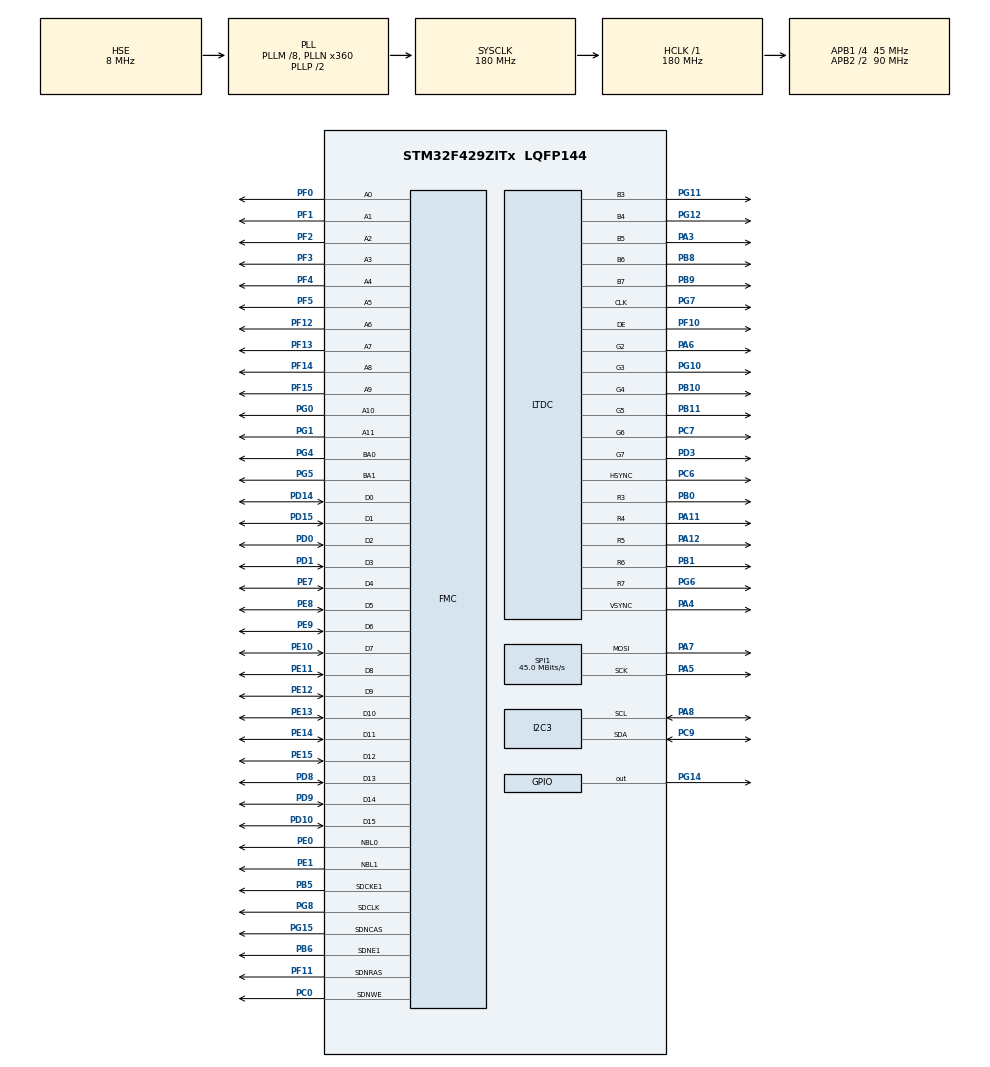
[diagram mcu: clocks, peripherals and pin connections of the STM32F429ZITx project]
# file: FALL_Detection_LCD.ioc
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FREERTOS.Tasks01=defaultTask,24,128,StartDefaultTask,Default,NULL,Dynamic,NULL,NULL
Mcu.Family=STM32F4
Mcu.Name=STM32F429ZITx
Mcu.Package=LQFP144
NVIC.PriorityGroup=NVIC_PRIORITYGROUP_4
PA11.Mode=RGB565
PA11.Signal=LTDC_R4
PA12.Mode=RGB565
PA12.Signal=LTDC_R5
PA3.Mode=RGB565
PA3.Signal=LTDC_B5
PA4.Mode=RGB565
PA4.Signal=LTDC_VSYNC
PA5.Mode=TX_Only_Simplex_Unidirect_Master
PA5.Signal=SPI1_SCK
PA6.Mode=RGB565
PA6.Signal=LTDC_G2
PA7.Mode=TX_Only_Simplex_Unidirect_Master
PA7.Signal=SPI1_MOSI
PA8.Mode=I2C
PA8.Signal=I2C3_SCL
PB0.Mode=RGB565
PB0.Signal=LTDC_R3
PB1.Mode=RGB565
PB1.Signal=LTDC_R6
PB10.Mode=RGB565
PB10.Signal=LTDC_G4
PB11.Mode=RGB565
PB11.Signal=LTDC_G5
PB5.Mode=SdramChipSelect2_1
PB5.Signal=FMC_SDCKE1
PB6.Mode=SdramChipSelect2_1
PB6.Signal=FMC_SDNE1
PB8.Mode=RGB565
PB8.Signal=LTDC_B6
PB9.Mode=RGB565
PB9.Signal=LTDC_B7
PC0.Signal=FMC_SDNWE
PC6.Mode=RGB565
PC6.Signal=LTDC_HSYNC
PC7.Mode=RGB565
PC7.Signal=LTDC_G6
PC9.Mode=I2C
PC9.Signal=I2C3_SDA
PD0.Signal=FMC_D2_DA2
PD1.Signal=FMC_D3_DA3
PD10.Signal=FMC_D15_DA15
PD14.Signal=FMC_D0_DA0
PD15.Signal=FMC_D1_DA1
PD3.Mode=RGB565
PD3.Signal=LTDC_G7
PD8.Signal=FMC_D13_DA13
PD9.Signal=FMC_D14_DA14
PE0.Signal=FMC_NBL0
PE1.Signal=FMC_NBL1
PE10.Signal=FMC_D7_DA7
PE11.Signal=FMC_D8_DA8
PE12.Signal=FMC_D9_DA9
PE13.Signal=FMC_D10_DA10
PE14.Signal=FMC_D11_DA11
PE15.Signal=FMC_D12_DA12
PE7.Signal=FMC_D4_DA4
PE8.Signal=FMC_D5_DA5
PE9.Signal=FMC_D6_DA6
PF0.Signal=FMC_A0
PF1.Signal=FMC_A1
PF10.Mode=RGB565
PF10.Signal=LTDC_DE
PF11.Signal=FMC_SDNRAS
PF12.Signal=FMC_A6
PF13.Signal=FMC_A7
PF14.Signal=FMC_A8
PF15.Signal=FMC_A9
PF2.Signal=FMC_A2
PF3.Signal=FMC_A3
PF4.Signal=FMC_A4
PF5.Signal=FMC_A5
PG0.Signal=FMC_A10
PG1.Signal=FMC_A11
PG10.Mode=RGB565
PG10.Signal=LTDC_G3
PG11.Mode=RGB565
PG11.Signal=LTDC_B3
PG12.Mode=RGB565
PG12.Signal=LTDC_B4
PG14.Signal=GPIO_Output
PG15.Signal=FMC_SDNCAS
PG4.Signal=FMC_A14_BA0
PG5.Signal=FMC_A15_BA1
PG6.Mode=RGB565
PG6.Signal=LTDC_R7
PG7.Mode=RGB565
PG7.Signal=LTDC_CLK
PG8.Signal=FMC_SDCLK
PH0/OSC_IN.Mode=HSE-External-Oscillator
PH0/OSC_IN.Signal=RCC_OSC_IN
PH1/OSC_OUT.Mode=HSE-External-Oscillator
PH1/OSC_OUT.Signal=RCC_OSC_OUT
ProjectManager.HeapSize=0x200
ProjectManager.StackSize=0x400
ProjectManager.TargetToolchain=STM32CubeIDE
RCC.48MHZClocksFreq_Value=51428571.428571425
RCC.AHBFreq_Value=180000000
RCC.APB1CLKDivider=RCC_HCLK_DIV4
RCC.APB1Freq_Value=45000000
RCC.APB1TimFreq_Value=90000000
RCC.APB2CLKDivider=RCC_HCLK_DIV2
RCC.APB2Freq_Value=90000000
RCC.APB2TimFreq_Value=180000000
RCC.CortexFreq_Value=180000000
RCC.HCLKFreq_Value=180000000
RCC.HSE_VALUE=8000000
RCC.HSI_VALUE=16000000
RCC.LSE_VALUE=32768
RCC.PLLM=8
RCC.PLLN=360
RCC.PLLQ=7
RCC.PLLSAIDivR=RCC_PLLSAIDIVR_8
RCC.PLLSAIN=192
RCC.PLLSAIR=4
RCC.PLLSourceVirtual=RCC_PLLSOURCE_HSE
RCC.SYSCLKFreq_VALUE=180000000
RCC.SYSCLKSource=RCC_SYSCLKSOURCE_PLLCLK
RCC.VCOOutputFreq_Value=360000000
SH.FMC_A0.0=FMC_A0,12b-sda1
SH.FMC_A1.0=FMC_A1,12b-sda1
SH.FMC_A10.0=FMC_A10,12b-sda1
SH.FMC_A11.0=FMC_A11,12b-sda1
SH.FMC_A14_BA0.0=FMC_BA0,FourSdramBanks1
SH.FMC_A15_BA1.0=FMC_BA1,FourSdramBanks1
SH.FMC_A2.0=FMC_A2,12b-sda1
SH.FMC_A3.0=FMC_A3,12b-sda1
SH.FMC_A4.0=FMC_A4,12b-sda1
SH.FMC_A5.0=FMC_A5,12b-sda1
SH.FMC_A6.0=FMC_A6,12b-sda1
SH.FMC_A7.0=FMC_A7,12b-sda1
SH.FMC_A8.0=FMC_A8,12b-sda1
SH.FMC_A9.0=FMC_A9,12b-sda1
SH.FMC_D0_DA0.0=FMC_D0,sd-16b-d1
SH.FMC_D10_DA10.0=FMC_D10,sd-16b-d1
SH.FMC_D11_DA11.0=FMC_D11,sd-16b-d1
SH.FMC_D12_DA12.0=FMC_D12,sd-16b-d1
SH.FMC_D13_DA13.0=FMC_D13,sd-16b-d1
SH.FMC_D14_DA14.0=FMC_D14,sd-16b-d1
SH.FMC_D15_DA15.0=FMC_D15,sd-16b-d1
SH.FMC_D1_DA1.0=FMC_D1,sd-16b-d1
SH.FMC_D2_DA2.0=FMC_D2,sd-16b-d1
SH.FMC_D3_DA3.0=FMC_D3,sd-16b-d1
SH.FMC_D4_DA4.0=FMC_D4,sd-16b-d1
SH.FMC_D5_DA5.0=FMC_D5,sd-16b-d1
SH.FMC_D6_DA6.0=FMC_D6,sd-16b-d1
SH.FMC_D7_DA7.0=FMC_D7,sd-16b-d1
SH.FMC_D8_DA8.0=FMC_D8,sd-16b-d1
SH.FMC_D9_DA9.0=FMC_D9,sd-16b-d1
SH.FMC_NBL0.0=FMC_NBL0,Sd2ByteEnable1
SH.FMC_NBL1.0=FMC_NBL1,Sd2ByteEnable1
SH.FMC_SDCLK.0=FMC_SDCLK,12b-sda1
SH.FMC_SDNCAS.0=FMC_SDNCAS,12b-sda1
SH.FMC_SDNRAS.0=FMC_SDNRAS,12b-sda1
SH.FMC_SDNWE.0=FMC_SDNWE,12b-sda1
SPI1.CalculateBaudRate=45.0 MBits/s
SPI1.Direction=SPI_DIRECTION_2LINES
SPI1.Mode=SPI_MODE_MASTER
SPI1.VirtualType=VM_MASTER
VP_DMA2D_VS_DMA2D.Mode=DMA2D_Activate
VP_FREERTOS_VS_CMSIS_V2.Mode=CMSIS_V2
board=STM32F429I-DISC1

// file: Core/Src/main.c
/* USER CODE BEGIN Header */
/**
 ******************************************************************************
 * @file           : main.c
 * @brief          : Main program body
 ******************************************************************************
 * @attention
 *
 * Copyright (c) 2025 STMicroelectronics.
 * All rights reserved.
 *
 * This software is licensed under terms that can be found in the LICENSE file
 * in the root directory of this software component.
 * If no LICENSE file comes with this software, it is provided AS-IS.
 *
 ******************************************************************************
 */
/* USER CODE END Header */
#include "main.h"
#include "cmsis_os.h"

/* USER CODE BEGIN Includes */
#include <stdio.h>
#include <string.h>
#include <math.h>

void MPU6050_Init(void);
void MPU6050_Read(void);
#define MPU6050_ADDR (0x68 << 1)
uint8_t data[14];
int16_t Ax, Ay, Az, Gx, Gy, Gz;
 char uart_buf[100];
/* USER CODE END Includes */

/* USER CODE BEGIN PM */
#define ACCEL_SCALE 16384.0  // Correct for MPU6050 +/- 2g range
#define THRESHOLD   2.5      // 2.5g (standard impact threshold)
#define TILT_ANGLE  40 // Original 60
/* USER CODE END PM */

DMA2D_HandleTypeDef hdma2d;

I2C_HandleTypeDef hi2c3;

LTDC_HandleTypeDef hltdc;

SPI_HandleTypeDef hspi1;

SDRAM_HandleTypeDef hsdram1;

/* Definitions for defaultTask */
osThreadId_t defaultTaskHandle;
const osThreadAttr_t defaultTask_attributes = {
  .name = "defaultTask",
  .stack_size = 128 * 4,
  .priority = (osPriority_t) osPriorityNormal,
};

void SystemClock_Config(void);
static void MX_GPIO_Init(void);
static void MX_DMA2D_Init(void);
static void MX_FMC_Init(void);
static void MX_LTDC_Init(void);
static void MX_I2C3_Init(void);
static void MX_SPI1_Init(void);
void StartDefaultTask(void *argument);

/* USER CODE BEGIN 0 */
TaskHandle_t watcher;
TaskHandle_t thinker;
TaskHandle_t shouter;
float aTotal;
float pitch;
float roll;

void* Watcher(void *arg);
void* Thinker(void *arg);
void* Shouter(void *arg);

void MPU6050_Init(void)
{
  uint8_t check;
  uint8_t data;

  // Check WHO_AM_I
  HAL_I2C_Mem_Read(&hi2c3, MPU6050_ADDR, 0x75, 1, &check, 1, HAL_MAX_DELAY);

  // Wake up MPU6050
  data = 0;
  HAL_I2C_Mem_Write(&hi2c3, MPU6050_ADDR, 0x6B, 1, &data, 1, HAL_MAX_DELAY);

  // Set accel ±2g
  data = 0x00;
  HAL_I2C_Mem_Write(&hi2c3, MPU6050_ADDR, 0x1C, 1, &data, 1, HAL_MAX_DELAY);

  // Set gyro ±250 dps
  data = 0x00;
  HAL_I2C_Mem_Write(&hi2c3, MPU6050_ADDR, 0x1B, 1, &data, 1, HAL_MAX_DELAY);
}
void MPU6050_Read(void)
{
  HAL_I2C_Mem_Read(&hi2c3, MPU6050_ADDR, 0x3B, 1, data, 14, HAL_MAX_DELAY);

  Ax = (int16_t)(data[0] << 8 | data[1]);
  Ay = (int16_t)(data[2] << 8 | data[3]);
  Az = (int16_t)(data[4] << 8 | data[5]);

  Gx = (int16_t)(data[8] << 8 | data[9]);
  Gy = (int16_t)(data[10] << 8 | data[11]);
  Gz = (int16_t)(data[12] << 8 | data[13]);
}
/* USER CODE END 0 */

int main(void)
{

  /* MCU Configuration--------------------------------------------------------*/

  /* Reset of all peripherals, Initializes the Flash interface and the Systick. */
  HAL_Init();

  /* Configure the system clock */
  SystemClock_Config();

  /* Initialize all configured peripherals */
  MX_GPIO_Init();
  MX_DMA2D_Init();
  MX_FMC_Init();
  MX_LTDC_Init();
  MX_I2C3_Init();
  MX_SPI1_Init();
  /* USER CODE BEGIN 2 */
	BSP_LCD_Init();
	MPU6050_Init();

	xTaskCreate(Watcher, "watcher", 256, NULL, 1, &watcher);
	xTaskCreate(Thinker, "thinker", 256, NULL, 1, &thinker);
	xTaskCreate(Shouter, "shouter", 256, NULL, 1, &shouter);

	/* Initialize the LCD Layers */
	BSP_LCD_LayerDefaultInit(1, LCD_FRAME_BUFFER);
	BSP_LCD_SelectLayer(1);

	BSP_LCD_SetFont(&LCD_DEFAULT_FONT);

	/* Clear the LCD */
	BSP_LCD_SetBackColor(LCD_COLOR_WHITE);
	BSP_LCD_Clear(LCD_COLOR_WHITE);

	/* Set the LCD Text Color */
	BSP_LCD_SetTextColor(LCD_COLOR_DARKBLUE);

	/* Display LCD messages */
//	BSP_LCD_DisplayStringAt(0, 10, (uint8_t*)"Emertxe", CENTER_MODE);
//	BSP_LCD_SetFont(&Font16);
	BSP_LCD_DisplayStringAt(0, 35, (uint8_t*)"FALL DETECTED?", CENTER_MODE);

	vTaskStartScheduler();

	/* Draw Bitmap */
//	      BSP_LCD_DrawBitmap((BSP_LCD_GetXSize() - emx_logo_width) / 2 ,(BSP_LCD_GetYSize() - emx_logo_height) / 2 , (uint8_t *)emx_logo);
  /* USER CODE END 2 */

  /* Init scheduler */
  osKernelInitialize();

  /* Create the thread(s) */
  /* creation of defaultTask */
  defaultTaskHandle = osThreadNew(StartDefaultTask, NULL, &defaultTask_attributes);

  /* Start scheduler */
  osKernelStart();

  /* We should never get here as control is now taken by the scheduler */

  /* Infinite loop */
	while (1)
	{

	}
}

void SystemClock_Config(void)
{
  RCC_OscInitTypeDef RCC_OscInitStruct = {0};
  RCC_ClkInitTypeDef RCC_ClkInitStruct = {0};

  /** Configure the main internal regulator output voltage
  */
  __HAL_RCC_PWR_CLK_ENABLE();
  __HAL_PWR_VOLTAGESCALING_CONFIG(PWR_REGULATOR_VOLTAGE_SCALE1);

  /** Initializes the RCC Oscillators according to the specified parameters
  * in the RCC_OscInitTypeDef structure.
  */
  RCC_OscInitStruct.OscillatorType = RCC_OSCILLATORTYPE_HSE;
  RCC_OscInitStruct.HSEState = RCC_HSE_ON;
  RCC_OscInitStruct.PLL.PLLState = RCC_PLL_ON;
  RCC_OscInitStruct.PLL.PLLSource = RCC_PLLSOURCE_HSE;
  RCC_OscInitStruct.PLL.PLLM = 8;
  RCC_OscInitStruct.PLL.PLLN = 360;
  RCC_OscInitStruct.PLL.PLLP = RCC_PLLP_DIV2;
  RCC_OscInitStruct.PLL.PLLQ = 7;
  if (HAL_RCC_OscConfig(&RCC_OscInitStruct) != HAL_OK)
  {
    Error_Handler();
  }

  /** Activate the Over-Drive mode
  */
  if (HAL_PWREx_EnableOverDrive() != HAL_OK)
  {
    Error_Handler();
  }

  /** Initializes the CPU, AHB and APB buses clocks
  */
  RCC_ClkInitStruct.ClockType = RCC_CLOCKTYPE_HCLK|RCC_CLOCKTYPE_SYSCLK
                              |RCC_CLOCKTYPE_PCLK1|RCC_CLOCKTYPE_PCLK2;
  RCC_ClkInitStruct.SYSCLKSource = RCC_SYSCLKSOURCE_PLLCLK;
  RCC_ClkInitStruct.AHBCLKDivider = RCC_SYSCLK_DIV1;
  RCC_ClkInitStruct.APB1CLKDivider = RCC_HCLK_DIV4;
  RCC_ClkInitStruct.APB2CLKDivider = RCC_HCLK_DIV2;

  if (HAL_RCC_ClockConfig(&RCC_ClkInitStruct, FLASH_LATENCY_5) != HAL_OK)
  {
    Error_Handler();
  }
}

static void MX_DMA2D_Init(void)
{

  hdma2d.Instance = DMA2D;
  hdma2d.Init.Mode = DMA2D_M2M;
  hdma2d.Init.ColorMode = DMA2D_OUTPUT_ARGB8888;
  hdma2d.Init.OutputOffset = 0;
  hdma2d.LayerCfg[1].InputOffset = 0;
  hdma2d.LayerCfg[1].InputColorMode = DMA2D_INPUT_ARGB8888;
  hdma2d.LayerCfg[1].AlphaMode = DMA2D_NO_MODIF_ALPHA;
  hdma2d.LayerCfg[1].InputAlpha = 0;
  if (HAL_DMA2D_Init(&hdma2d) != HAL_OK)
  {
    Error_Handler();
  }
  if (HAL_DMA2D_ConfigLayer(&hdma2d, 1) != HAL_OK)
  {
    Error_Handler();
  }

}

static void MX_I2C3_Init(void)
{

  hi2c3.Instance = I2C3;
  hi2c3.Init.ClockSpeed = 100000;
  hi2c3.Init.DutyCycle = I2C_DUTYCYCLE_2;
  hi2c3.Init.OwnAddress1 = 0;
  hi2c3.Init.AddressingMode = I2C_ADDRESSINGMODE_7BIT;
  hi2c3.Init.DualAddressMode = I2C_DUALADDRESS_DISABLE;
  hi2c3.Init.OwnAddress2 = 0;
  hi2c3.Init.GeneralCallMode = I2C_GENERALCALL_DISABLE;
  hi2c3.Init.NoStretchMode = I2C_NOSTRETCH_DISABLE;
  if (HAL_I2C_Init(&hi2c3) != HAL_OK)
  {
    Error_Handler();
  }

  /** Configure Analogue filter
  */
  if (HAL_I2CEx_ConfigAnalogFilter(&hi2c3, I2C_ANALOGFILTER_ENABLE) != HAL_OK)
  {
    Error_Handler();
  }

  /** Configure Digital filter
  */
  if (HAL_I2CEx_ConfigDigitalFilter(&hi2c3, 0) != HAL_OK)
  {
    Error_Handler();
  }

}

static void MX_LTDC_Init(void)
{

  LTDC_LayerCfgTypeDef pLayerCfg = {0};
  LTDC_LayerCfgTypeDef pLayerCfg1 = {0};

  hltdc.Instance = LTDC;
  hltdc.Init.HSPolarity = LTDC_HSPOLARITY_AL;
  hltdc.Init.VSPolarity = LTDC_VSPOLARITY_AL;
  hltdc.Init.DEPolarity = LTDC_DEPOLARITY_AL;
  hltdc.Init.PCPolarity = LTDC_PCPOLARITY_IPC;
  hltdc.Init.HorizontalSync = 7;
  hltdc.Init.VerticalSync = 3;
  hltdc.Init.AccumulatedHBP = 14;
  hltdc.Init.AccumulatedVBP = 5;
  hltdc.Init.AccumulatedActiveW = 654;
  hltdc.Init.AccumulatedActiveH = 485;
  hltdc.Init.TotalWidth = 660;
  hltdc.Init.TotalHeigh = 487;
  hltdc.Init.Backcolor.Blue = 0;
  hltdc.Init.Backcolor.Green = 0;
  hltdc.Init.Backcolor.Red = 0;
  if (HAL_LTDC_Init(&hltdc) != HAL_OK)
  {
    Error_Handler();
  }
  pLayerCfg.WindowX0 = 0;
  pLayerCfg.WindowX1 = 0;
  pLayerCfg.WindowY0 = 0;
  pLayerCfg.WindowY1 = 0;
  pLayerCfg.PixelFormat = LTDC_PIXEL_FORMAT_ARGB8888;
  pLayerCfg.Alpha = 0;
  pLayerCfg.Alpha0 = 0;
  pLayerCfg.BlendingFactor1 = LTDC_BLENDING_FACTOR1_CA;
  pLayerCfg.BlendingFactor2 = LTDC_BLENDING_FACTOR2_CA;
  pLayerCfg.FBStartAdress = 0;
  pLayerCfg.ImageWidth = 0;
  pLayerCfg.ImageHeight = 0;
  pLayerCfg.Backcolor.Blue = 0;
  pLayerCfg.Backcolor.Green = 0;
  pLayerCfg.Backcolor.Red = 0;
  if (HAL_LTDC_ConfigLayer(&hltdc, &pLayerCfg, 0) != HAL_OK)
  {
    Error_Handler();
  }
  pLayerCfg1.WindowX0 = 0;
  pLayerCfg1.WindowX1 = 0;
  pLayerCfg1.WindowY0 = 0;
  pLayerCfg1.WindowY1 = 0;
  pLayerCfg1.PixelFormat = LTDC_PIXEL_FORMAT_ARGB8888;
  pLayerCfg1.Alpha = 0;
  pLayerCfg1.Alpha0 = 0;
  pLayerCfg1.BlendingFactor1 = LTDC_BLENDING_FACTOR1_CA;
  pLayerCfg1.BlendingFactor2 = LTDC_BLENDING_FACTOR2_CA;
  pLayerCfg1.FBStartAdress = 0;
  pLayerCfg1.ImageWidth = 0;
  pLayerCfg1.ImageHeight = 0;
  pLayerCfg1.Backcolor.Blue = 0;
  pLayerCfg1.Backcolor.Green = 0;
  pLayerCfg1.Backcolor.Red = 0;
  if (HAL_LTDC_ConfigLayer(&hltdc, &pLayerCfg1, 1) != HAL_OK)
  {
    Error_Handler();
  }

}

static void MX_SPI1_Init(void)
{

  /* SPI1 parameter configuration*/
  hspi1.Instance = SPI1;
  hspi1.Init.Mode = SPI_MODE_MASTER;
  hspi1.Init.Direction = SPI_DIRECTION_2LINES;
  hspi1.Init.DataSize = SPI_DATASIZE_8BIT;
  hspi1.Init.CLKPolarity = SPI_POLARITY_LOW;
  hspi1.Init.CLKPhase = SPI_PHASE_1EDGE;
  hspi1.Init.NSS = SPI_NSS_SOFT;
  hspi1.Init.BaudRatePrescaler = SPI_BAUDRATEPRESCALER_2;
  hspi1.Init.FirstBit = SPI_FIRSTBIT_MSB;
  hspi1.Init.TIMode = SPI_TIMODE_DISABLE;
  hspi1.Init.CRCCalculation = SPI_CRCCALCULATION_DISABLE;
  hspi1.Init.CRCPolynomial = 10;
  if (HAL_SPI_Init(&hspi1) != HAL_OK)
  {
    Error_Handler();
  }

}

/* FMC initialization function */
static void MX_FMC_Init(void)
{

  FMC_SDRAM_TimingTypeDef SdramTiming = {0};

  /** Perform the SDRAM1 memory initialization sequence
  */
  hsdram1.Instance = FMC_SDRAM_DEVICE;
  /* hsdram1.Init */
  hsdram1.Init.SDBank = FMC_SDRAM_BANK2;
  hsdram1.Init.ColumnBitsNumber = FMC_SDRAM_COLUMN_BITS_NUM_8;
  hsdram1.Init.RowBitsNumber = FMC_SDRAM_ROW_BITS_NUM_12;
  hsdram1.Init.MemoryDataWidth = FMC_SDRAM_MEM_BUS_WIDTH_16;
  hsdram1.Init.InternalBankNumber = FMC_SDRAM_INTERN_BANKS_NUM_4;
  hsdram1.Init.CASLatency = FMC_SDRAM_CAS_LATENCY_1;
  hsdram1.Init.WriteProtection = FMC_SDRAM_WRITE_PROTECTION_DISABLE;
  hsdram1.Init.SDClockPeriod = FMC_SDRAM_CLOCK_DISABLE;
  hsdram1.Init.ReadBurst = FMC_SDRAM_RBURST_DISABLE;
  hsdram1.Init.ReadPipeDelay = FMC_SDRAM_RPIPE_DELAY_0;
  /* SdramTiming */
  SdramTiming.LoadToActiveDelay = 16;
  SdramTiming.ExitSelfRefreshDelay = 16;
  SdramTiming.SelfRefreshTime = 16;
  SdramTiming.RowCycleDelay = 16;
  SdramTiming.WriteRecoveryTime = 16;
  SdramTiming.RPDelay = 16;
  SdramTiming.RCDDelay = 16;

  if (HAL_SDRAM_Init(&hsdram1, &SdramTiming) != HAL_OK)
  {
    Error_Handler( );
  }

}

static void MX_GPIO_Init(void)
{
  GPIO_InitTypeDef GPIO_InitStruct = {0};

  /* GPIO Ports Clock Enable */
  __HAL_RCC_GPIOF_CLK_ENABLE();
  __HAL_RCC_GPIOH_CLK_ENABLE();
  __HAL_RCC_GPIOC_CLK_ENABLE();
  __HAL_RCC_GPIOA_CLK_ENABLE();
  __HAL_RCC_GPIOB_CLK_ENABLE();
  __HAL_RCC_GPIOG_CLK_ENABLE();
  __HAL_RCC_GPIOE_CLK_ENABLE();
  __HAL_RCC_GPIOD_CLK_ENABLE();

  /*Configure GPIO pin Output Level */
  HAL_GPIO_WritePin(GPIOG, GPIO_PIN_14, GPIO_PIN_RESET);

  /*Configure GPIO pin : PG14 */
  GPIO_InitStruct.Pin = GPIO_PIN_14;
  GPIO_InitStruct.Mode = GPIO_MODE_OUTPUT_PP;
  GPIO_InitStruct.Pull = GPIO_NOPULL;
  GPIO_InitStruct.Speed = GPIO_SPEED_FREQ_LOW;
  HAL_GPIO_Init(GPIOG, &GPIO_InitStruct);

}

/* USER CODE BEGIN 4 */
void Watcher(void *arg){
	for(;;){
		MPU6050_Read();
		//printf("Ax=%d:Ay=%d:Az=%d | Gx=%d:Gy:%d:Gz=%d\r\n",Ax,Ay,Az,Gx,Gy,Gz);
		vTaskDelay(pdMS_TO_TICKS(20));
	}
}

void Thinker(void *arg) {
	for (;;) {
		// 1. Calculate Resultant Acceleration Magnitude
		float aTotal = sqrtf((float) Ax * Ax + (float) Ay * Ay + (float) Az * Az) / ACCEL_SCALE;

		// 2. Only check for Tilt IF an Impact (Threshold) is detected first
		if (aTotal > THRESHOLD) {

			// Add a very tiny delay to let the sensor stabilize after impact
			vTaskDelay(pdMS_TO_TICKS(10));

			float pitch = atan2f(Ax, sqrtf(Ay * Ay + Az * Az)) * 180.0f / M_PI;
			float roll = atan2f(Ay, sqrtf(Ax * Ax + Az * Az)) * 180.0f / M_PI;

			// 3. Confirm the device is actually tilted AFTER the impact
			if (fabs(pitch) > TILT_ANGLE || fabs(roll) > TILT_ANGLE) {
				//uint8_t alert = 1;
				xTaskNotifyGive(shouter);
				vTaskDelay(pdMS_TO_TICKS(2000));
			}
		}
		else{
			BSP_LCD_DisplayStringAt(0, 55, (uint8_t*)"NO...!", CENTER_MODE);
		}
//		vTaskDelay(pdMS_TO_TICKS(50));
	}
}

void Shouter(void *arg){
	for(;;){
		ulTaskNotifyTake(pdTRUE, portMAX_DELAY);
		BSP_LCD_DisplayStringAt(0, 55, (uint8_t*)"YES..!", CENTER_MODE);
		HAL_GPIO_WritePin(GPIOG, GPIO_PIN_14, 1);
		vTaskDelay(pdMS_TO_TICKS(3000));
		HAL_GPIO_WritePin(GPIOG, GPIO_PIN_14, 0);
	}
}
/* USER CODE END 4 */

void StartDefaultTask(void *argument)
{
  for(;;)
  {
    osDelay(1);
  }
}

void Error_Handler(void)
{
	__disable_irq();
	while (1)
	{
	}
}
